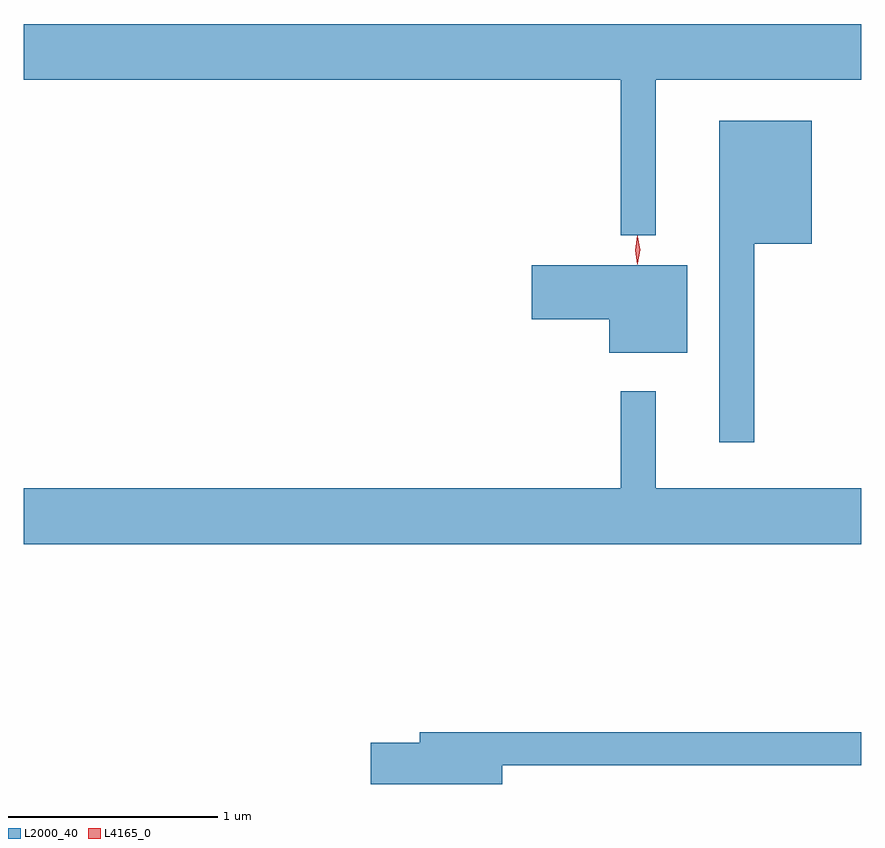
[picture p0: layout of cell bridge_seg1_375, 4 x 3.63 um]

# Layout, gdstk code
import gdstk
lib = gdstk.Library(unit=1e-6, precision=1e-09)
def P(c, l, *ps):  # polygons
    for p in ps: c.add(gdstk.Polygon(p, *l))
L2000_40 = (2000, 40)
L4165_0 = (4165, 0)

bridge_seg1_375 = lib.new_cell('bridge_seg1_375')
P(bridge_seg1_375, L2000_40, [(552.589,937.316),(553.569,937.316),(553.569,937.582),(549.569,937.582),(549.569,937.316),(552.421,937.316),(552.421,936.573),(552.589,936.573)],
  [(553.059,936.531),(553.334,936.531),(553.334,937.119),(552.891,937.119),(552.891,935.583),(553.059,935.583)],
  [(552.739,936.429),(551.996,936.429),(551.996,936.171),(552.366,936.171),(552.366,936.011),(552.739,936.011)],
  [(553.569,935.364),(552.589,935.364),(552.589,935.828),(552.421,935.828),(552.421,935.364),(549.569,935.364),(549.569,935.096),(553.569,935.096)],
  [(551.854,934.041),(553.569,934.041),(553.569,934.199),(551.461,934.199),(551.461,934.149),(551.226,934.149),(551.226,933.951),(551.854,933.951)])
P(bridge_seg1_375, L4165_0, [(552.5,936.434),(552.5,936.434),(552.49,936.502),(552.5,936.57),(552.5,936.57),(552.501,936.57),(552.51,936.502),(552.501,936.434)],
  [(552.502,936.44),(552.493,936.503),(552.502,936.566),(552.503,936.567),(552.503,936.566),(552.513,936.503),(552.503,936.44),(552.503,936.44)])

lib.write_gds('bridge_seg1_375.gds')
